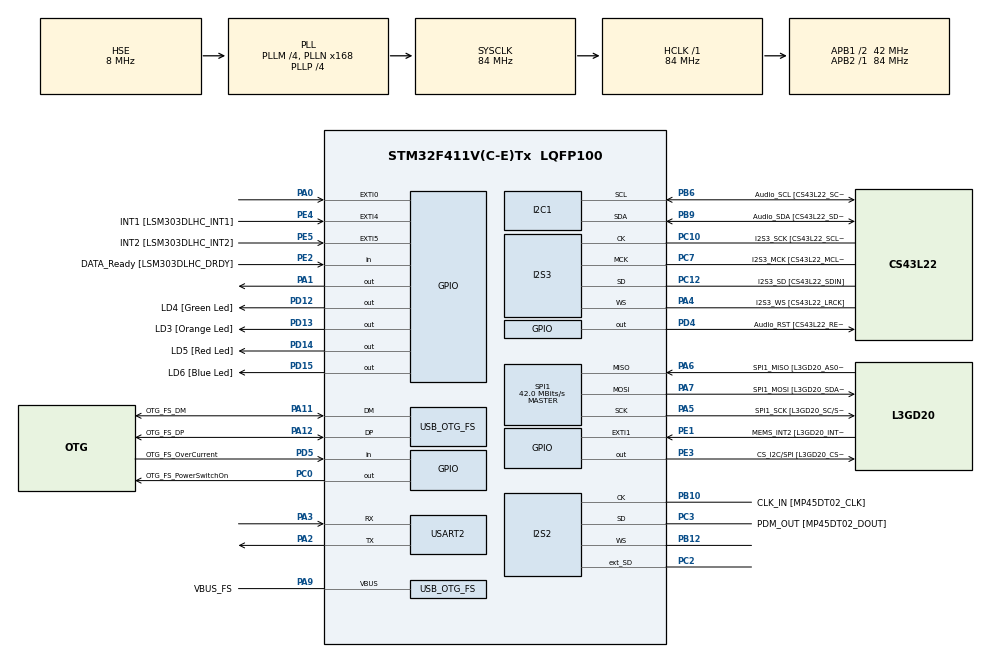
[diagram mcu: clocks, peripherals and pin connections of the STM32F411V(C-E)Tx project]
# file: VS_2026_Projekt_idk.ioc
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FREERTOS.Tasks01=defaultTask,24,128,StartDefaultTask,Default,NULL,Dynamic,NULL,NULL
FREERTOS.configGENERATE_RUN_TIME_STATS=1
FREERTOS.configRECORD_STACK_HIGH_ADDRESS=1
FREERTOS.configUSE_NEWLIB_REENTRANT=1
FREERTOS.configUSE_STATS_FORMATTING_FUNCTIONS=1
I2S2.AudioFreq=I2S_AUDIOFREQ_96K
I2S2.ErrorAudioFreq=0.15 %
I2S2.FullDuplexMode=I2S_FULLDUPLEXMODE_ENABLE
I2S2.Instance=SPI$Index
I2S2.RealAudioFreq=96.153 KHz
I2S2.VirtualMode=I2S_MODE_MASTER
I2S3.AudioFreq=I2S_AUDIOFREQ_96K
I2S3.ErrorAudioFreq=-6.99 %
I2S3.FullDuplexMode=I2S_FULLDUPLEXMODE_DISABLE
I2S3.Instance=SPI$Index
I2S3.RealAudioFreq=89.285 KHz
I2S3.VirtualMode=I2S_MODE_MASTER
Mcu.Family=STM32F4
Mcu.Name=STM32F411V(C-E)Tx
Mcu.Package=LQFP100
NVIC.OTG_FS_IRQn=true\:5\:0\:false\:false\:true\:true\:true\:true\:true
NVIC.PriorityGroup=NVIC_PRIORITYGROUP_4
NVIC.TIM4_IRQn=true\:15\:0\:false\:false\:true\:false\:false\:true\:true
NVIC.TimeBase=TIM4_IRQn
NVIC.TimeBaseIP=TIM4
NVIC.USART2_IRQn=true\:5\:0\:false\:false\:true\:true\:true\:true\:true
PA0-WKUP.GPIO_ModeDefaultEXTI=GPIO_MODE_EVT_RISING
PA0-WKUP.Signal=GPXTI0
PA1.Signal=GPIO_Output
PA10.GPIO_Label=OTG_FS_ID
PA10.Signal=USB_OTG_FS_ID
PA11.GPIO_Label=OTG_FS_DM
PA11.Mode=Host_Only
PA11.Signal=USB_OTG_FS_DM
PA12.GPIO_Label=OTG_FS_DP
PA12.Mode=Host_Only
PA12.Signal=USB_OTG_FS_DP
PA13.GPIO_Label=SWDIO
PA13.Mode=Serial_Wire
PA13.Signal=SYS_JTMS-SWDIO
PA14.GPIO_Label=SWCLK
PA14.Mode=Serial_Wire
PA14.Signal=SYS_JTCK-SWCLK
PA2.Mode=Asynchronous
PA2.Signal=USART2_TX
PA3.Mode=Asynchronous
PA3.Signal=USART2_RX
PA4.GPIO_Label=I2S3_WS [CS43L22_LRCK]
PA4.GPIO_Mode=GPIO_MODE_AF_PP
PA4.GPIO_PuPd=GPIO_NOPULL
PA4.GPIO_Speed=GPIO_SPEED_FREQ_LOW
PA4.Mode=Half_Duplex_Master
PA4.Signal=I2S3_WS
PA5.GPIO_Label=SPI1_SCK [L3GD20_SC/SPC]
PA5.Mode=Full_Duplex_Master
PA5.Signal=SPI1_SCK
PA6.GPIO_Label=SPI1_MISO [L3GD20_AS0/SDO]
PA6.Mode=Full_Duplex_Master
PA6.Signal=SPI1_MISO
PA7.GPIO_Label=SPI1_MOSI [L3GD20_SDA/SDI/SDO]
PA7.Mode=Full_Duplex_Master
PA7.Signal=SPI1_MOSI
PA9.GPIO_Label=VBUS_FS
PA9.Mode=Activate_VBUS
PA9.Signal=USB_OTG_FS_VBUS
PB10.GPIO_Label=CLK_IN [MP45DT02_CLK]
PB10.Mode=Full_Duplex_Master
PB10.Signal=I2S2_CK
PB12.Mode=Full_Duplex_Master
PB12.Signal=I2S2_WS
PB3.GPIO_Label=SWO
PB3.Signal=SYS_JTDO-SWO
PB6.GPIO_Label=Audio_SCL [CS43L22_SCL]
PB6.GPIO_Mode=GPIO_MODE_AF_OD
PB6.GPIO_Pu=GPIO_PULLUP
PB6.GPIO_PuPd=GPIO_NOPULL
PB6.GPIO_Speed=GPIO_SPEED_FREQ_LOW
PB6.Mode=I2C
PB6.Signal=I2C1_SCL
PB9.GPIO_Label=Audio_SDA [CS43L22_SDA]
PB9.GPIO_Mode=GPIO_MODE_AF_OD
PB9.GPIO_Pu=GPIO_PULLUP
PB9.GPIO_PuPd=GPIO_NOPULL
PB9.GPIO_Speed=GPIO_SPEED_FREQ_LOW
PB9.Mode=I2C
PB9.Signal=I2C1_SDA
PC0.GPIO_Label=OTG_FS_PowerSwitchOn
PC0.PinState=GPIO_PIN_SET
PC0.Signal=GPIO_Output
PC10.GPIO_Label=I2S3_SCK [CS43L22_SCLK]
PC10.GPIO_Mode=GPIO_MODE_AF_PP
PC10.GPIO_PuPd=GPIO_NOPULL
PC10.GPIO_Speed=GPIO_SPEED_FREQ_LOW
PC10.Mode=Half_Duplex_Master
PC10.Signal=I2S3_CK
PC12.GPIO_Label=I2S3_SD [CS43L22_SDIN]
PC12.GPIO_Mode=GPIO_MODE_AF_PP
PC12.GPIO_PuPd=GPIO_NOPULL
PC12.GPIO_Speed=GPIO_SPEED_FREQ_LOW
PC12.Mode=Half_Duplex_Master
PC12.Signal=I2S3_SD
PC14-OSC32_IN.GPIO_Label=PC14-OSC32_IN
PC14-OSC32_IN.Signal=RCC_OSC32_IN
PC15-OSC32_OUT.GPIO_Label=PC15-OSC32_OUT
PC15-OSC32_OUT.Signal=RCC_OSC32_OUT
PC2.Mode=Full_Duplex_Master
PC2.Signal=I2S2_ext_SD
PC3.GPIO_Label=PDM_OUT [MP45DT02_DOUT]
PC3.Mode=Full_Duplex_Master
PC3.Signal=I2S2_SD
PC7.GPIO_Label=I2S3_MCK [CS43L22_MCLK]
PC7.GPIO_Mode=GPIO_MODE_AF_PP
PC7.GPIO_PuPd=GPIO_NOPULL
PC7.GPIO_Speed=GPIO_SPEED_FREQ_LOW
PC7.Mode=Master_Clock_Activated
PC7.Signal=I2S3_MCK
PD12.GPIO_Label=LD4 [Green Led]
PD12.GPIO_PuPd=GPIO_NOPULL
PD12.GPIO_Speed=GPIO_SPEED_FREQ_LOW
PD12.Signal=GPIO_Output
PD13.GPIO_Label=LD3 [Orange Led]
PD13.GPIO_PuPd=GPIO_NOPULL
PD13.GPIO_Speed=GPIO_SPEED_FREQ_LOW
PD13.Signal=GPIO_Output
PD14.GPIO_Label=LD5 [Red Led]
PD14.GPIO_PuPd=GPIO_NOPULL
PD14.GPIO_Speed=GPIO_SPEED_FREQ_LOW
PD14.Signal=GPIO_Output
PD15.GPIO_Label=LD6 [Blue Led]
PD15.GPIO_PuPd=GPIO_NOPULL
PD15.GPIO_Speed=GPIO_SPEED_FREQ_LOW
PD15.Signal=GPIO_Output
PD4.GPIO_Label=Audio_RST [CS43L22_RESET]
PD4.Signal=GPIO_Output
PD5.GPIO_Label=OTG_FS_OverCurrent
PD5.Signal=GPIO_Input
PE1.GPIO_Label=MEMS_INT2 [L3GD20_INT2]
PE1.GPIO_ModeDefaultEXTI=GPIO_MODE_EVT_RISING
PE1.Signal=GPXTI1
PE2.GPIO_Label=DATA_Ready [LSM303DLHC_DRDY]
PE2.Signal=GPIO_Input
PE3.GPIO_Label=CS_I2C/SPI [L3GD20_CS_I2C/SPI]
PE3.Signal=GPIO_Output
PE4.GPIO_Label=INT1 [LSM303DLHC_INT1]
PE4.GPIO_ModeDefaultEXTI=GPIO_MODE_EVT_RISING
PE4.Signal=GPXTI4
PE5.GPIO_Label=INT2 [LSM303DLHC_INT2]
PE5.GPIO_ModeDefaultEXTI=GPIO_MODE_EVT_RISING
PE5.Signal=GPXTI5
PH0\ -\ OSC_IN.GPIO_Label=PH0-OSC_IN
PH0\ -\ OSC_IN.Mode=HSE-External-Oscillator
PH0\ -\ OSC_IN.Signal=RCC_OSC_IN
PH1\ -\ OSC_OUT.GPIO_Label=PH1-OSC_OUT
PH1\ -\ OSC_OUT.Mode=HSE-External-Oscillator
PH1\ -\ OSC_OUT.Signal=RCC_OSC_OUT
ProjectManager.HeapSize=0x200
ProjectManager.StackSize=0x400
ProjectManager.TargetToolchain=STM32CubeIDE
RCC.48MHZClocksFreq_Value=48000000
RCC.AHBFreq_Value=84000000
RCC.APB1CLKDivider=RCC_HCLK_DIV2
RCC.APB1Freq_Value=42000000
RCC.APB1TimFreq_Value=84000000
RCC.APB2Freq_Value=84000000
RCC.APB2TimFreq_Value=84000000
RCC.CortexFreq_Value=84000000
RCC.HCLKFreq_Value=84000000
RCC.HSE_VALUE=8000000
RCC.HSI_VALUE=16000000
RCC.LSE_VALUE=32768
RCC.PLLI2SM=5
RCC.PLLI2SN=200
RCC.PLLM=4
RCC.PLLN=168
RCC.PLLP=RCC_PLLP_DIV4
RCC.PLLQ=7
RCC.SYSCLKFreq_VALUE=84000000
RCC.SYSCLKSource=RCC_SYSCLKSOURCE_PLLCLK
RCC.VCOOutputFreq_Value=336000000
SPI1.BaudRatePrescaler=SPI_BAUDRATEPRESCALER_2
SPI1.CalculateBaudRate=42.0 MBits/s
SPI1.Direction=SPI_DIRECTION_2LINES
SPI1.Mode=SPI_MODE_MASTER
SPI1.VirtualType=VM_MASTER
USART2.VirtualMode=VM_ASYNC
USB_HOST.BSP.number=1
USB_HOST.USBH_HandleTypeDef=hUsbHostFS
USB_HOST.VirtualModeFS=Cdc
USB_HOST0.BSP.STBoard=false
USB_HOST0.BSP.api=Unknown
USB_HOST0.BSP.instance=PC0
USB_HOST0.BSP.ip=GPIO
USB_HOST0.BSP.mode=Output
USB_HOST0.BSP.name=Drive_VBUS_FS
USB_HOST0.BSP.solution=PC0
USB_OTG_FS.VirtualMode=Host_Only
USB_OTG_FS.phy_itface=HCD_PHY_EMBEDDED
VP_FREERTOS_VS_CMSIS_V2.Mode=CMSIS_V2
VP_SYS_VS_tim4.Mode=TIM4
VP_USB_HOST_VS_USB_HOST_CDC_FS.Mode=CDC_FS
board=STM32F411E-DISCO

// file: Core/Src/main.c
/* USER CODE BEGIN Header */
/**
  ******************************************************************************
  * @file           : main.c
  * @brief          : Main program body
  ******************************************************************************
  * @attention
  *
  * Copyright (c) 2026 STMicroelectronics.
  * All rights reserved.
  *
  * This software is licensed under terms that can be found in the LICENSE file
  * in the root directory of this software component.
  * If no LICENSE file comes with this software, it is provided AS-IS.
  *
  ******************************************************************************
  */
/* USER CODE END Header */
#include "main.h"
#include "cmsis_os.h"
#include "usb_host.h"

/* USER CODE BEGIN Includes */

#include "FreeRTOS.h"
#include "task.h"
#include "queue.h"
#include <string.h>
#include <ctype.h>

/* USER CODE END Includes */

/* USER CODE BEGIN PD */

#define PRIO_COMM   (3)
#define PRIO_AUDIO  (2)
#define PRIO_LED    (1)

#define RX_BUF_LEN 128

typedef enum {
  STATE_OK = 0, // 00
  STATE_TIRED = 1, // 01
  STATE_SLEEPY = 2 // 10
} fatigue_state_t;

/* USER CODE END PD */

I2C_HandleTypeDef hi2c1;

I2S_HandleTypeDef hi2s2;
I2S_HandleTypeDef hi2s3;

SPI_HandleTypeDef hspi1;

UART_HandleTypeDef huart2;

/* Definitions for defaultTask */
osThreadId_t defaultTaskHandle;
const osThreadAttr_t defaultTask_attributes = {
  .name = "defaultTask",
  .stack_size = 128 * 4,
  .priority = (osPriority_t) osPriorityNormal,
};
/* USER CODE BEGIN PV */

static QueueHandle_t xStateQueue = NULL;
static QueueHandle_t xRxByteQueue = NULL;

static TaskHandle_t  xAudioTaskHandle = NULL;

static volatile uint8_t rxByte;
static volatile uint16_t rxIdx = 0;

/* USER CODE END PV */

void SystemClock_Config(void);
void PeriphCommonClock_Config(void);
static void MX_GPIO_Init(void);
static void MX_I2C1_Init(void);
static void MX_I2S2_Init(void);
static void MX_I2S3_Init(void);
static void MX_SPI1_Init(void);
static void MX_USART2_UART_Init(void);
void StartDefaultTask(void *argument);

/* USER CODE BEGIN PFP */
static void CommTask(void *argument);
static void LedTask(void *argument);
static void AudioTask(void *argument);
/* USER CODE END PFP */

/* USER CODE BEGIN 0 */

static int parse_message_and_get_state(const char *msg, fatigue_state_t *out)
{
  if (!msg || !out) return 0;

  const char *p = strstr(msg, "\"status_code\"");
  if (!p) p = strstr(msg, "status_code");
  if (!p) return 0;

  p = strchr(p, ':');
  if (!p) return 0;
  p++;

  while (*p && isspace((unsigned char)*p)) p++;

  if (*p != '"' && *p != '\'') return 0;
  p++;

  while (*p && isspace((unsigned char)*p)) p++;

  char b0 = p[0];
  char b1 = p[1];
  if (!((b0=='0' || b0=='1') && (b1=='0' || b1=='1'))) return 0;

  if      (b0=='0' && b1=='0') *out = STATE_OK;
  else if (b0=='0' && b1=='1') *out = STATE_TIRED;
  else if (b0=='1' && b1=='0') *out = STATE_SLEEPY;
  else return 0;

  return 1;
}

static void CommTask(void *argument)
{
  char msg[RX_BUF_LEN];
  uint16_t idx = 0;

  for (;;)
  {
    uint8_t b;

    if (xQueueReceive(xRxByteQueue, &b, portMAX_DELAY) == pdTRUE)
    {
      char c = (char)b;

      if (idx < RX_BUF_LEN - 1) {
        msg[idx++] = c;
        msg[idx] = '\0';
      } else {
        idx = 0;
        msg[0] = '\0';
      }

      if (c == '\n' || c == '}')
      {
        fatigue_state_t s;
        msg[idx] = '\0';

        if (parse_message_and_get_state(msg, &s))
        {
          // LED: queue (buffer)
          if (xStateQueue) {
            xQueueSend(xStateQueue, &s, 0);
          }

          // Audio: notification (mailbox)
          if (xAudioTaskHandle) {
            xTaskNotify(xAudioTaskHandle, (uint32_t)s, eSetValueWithOverwrite);
          }
        }

        idx = 0;
        msg[0] = '\0';
      }
    }
  }
}

static void LedTask(void *argument)
{
  fatigue_state_t s;

  for (;;)
  {
    if (xQueueReceive(xStateQueue, &s, portMAX_DELAY) == pdTRUE)
    {
      HAL_GPIO_WritePin(GPIOD, GPIO_PIN_12 | GPIO_PIN_13 | GPIO_PIN_14, GPIO_PIN_RESET);

      switch (s)
      {
        case STATE_OK: // 00
          HAL_GPIO_WritePin(GPIOD, GPIO_PIN_12, GPIO_PIN_SET); // zelena
          break;

        case STATE_TIRED: // 01
          HAL_GPIO_WritePin(GPIOD, GPIO_PIN_13, GPIO_PIN_SET); // oranzna
          break;

        case STATE_SLEEPY: // 10
          HAL_GPIO_WritePin(GPIOD, GPIO_PIN_14, GPIO_PIN_SET); // rdeca
          break;

        default:
          break;
      }
    }
  }
}

static void AudioTask(void *argument)
{
  uint32_t notifValue = 0;

  for (;;)
  {
    // cakaj na novo stanje (mailbox notification)
    xTaskNotifyWait(0, 0xFFFFFFFF, &notifValue, portMAX_DELAY);
    fatigue_state_t s = (fatigue_state_t)notifValue;

    if (s == STATE_OK)
    {
      HAL_GPIO_WritePin(GPIOA, GPIO_PIN_1, GPIO_PIN_RESET);
    }
    else if (s == STATE_TIRED)
    {
      for (int i = 0; i < 2; i++)
      {
        HAL_GPIO_TogglePin(GPIOA, GPIO_PIN_1);
        vTaskDelay(pdMS_TO_TICKS(200));
        HAL_GPIO_TogglePin(GPIOA, GPIO_PIN_1);
        vTaskDelay(pdMS_TO_TICKS(200));
      }
    }
    else if (s == STATE_SLEEPY)
    {
      for (int i = 0; i < 6; i++)
      {
        HAL_GPIO_TogglePin(GPIOA, GPIO_PIN_1);
        vTaskDelay(pdMS_TO_TICKS(80));
      }
      HAL_GPIO_WritePin(GPIOA, GPIO_PIN_1, GPIO_PIN_SET);
    }
  }
}

/* USER CODE END 0 */

int main(void)
{

  /* MCU Configuration--------------------------------------------------------*/

  /* Reset of all peripherals, Initializes the Flash interface and the Systick. */
  HAL_Init();

  /* Configure the system clock */
  SystemClock_Config();

  /* Configure the peripherals common clocks */
  PeriphCommonClock_Config();

  /* Initialize all configured peripherals */
  MX_GPIO_Init();
  MX_I2C1_Init();
  MX_I2S2_Init();
  MX_I2S3_Init();
  MX_SPI1_Init();
  MX_USART2_UART_Init();
  /* USER CODE BEGIN 2 */

  HAL_UART_Receive_IT(&huart2, (uint8_t*)&rxByte, 1);

  /* USER CODE END 2 */

  /* Init scheduler */

  /* Create the thread(s) */
  /* creation of defaultTask */
  defaultTaskHandle = osThreadNew(StartDefaultTask, NULL, &defaultTask_attributes);

  /* USER CODE BEGIN RTOS_THREADS */
  /* add threads, ... */

  xStateQueue = xQueueCreate(8, sizeof(fatigue_state_t));
  xRxByteQueue = xQueueCreate(256, sizeof(uint8_t));

  vQueueAddToRegistry( xStateQueue, "LED_State_Queue" );
  vQueueAddToRegistry( xRxByteQueue, "UART_Queue" );

  xTaskCreate(CommTask,  "CommTask",  256, NULL, PRIO_COMM,  NULL);
  xTaskCreate(LedTask,   "LedTask",   256, NULL, PRIO_LED,   NULL);
  xTaskCreate(AudioTask, "AudioTask", 256, NULL, PRIO_AUDIO, &xAudioTaskHandle);

  vTaskStartScheduler();

  /* USER CODE END RTOS_THREADS */

  /* Start scheduler */

  /* We should never get here as control is now taken by the scheduler */

  /* Infinite loop */
  while (1)
  {

  }
}

void SystemClock_Config(void)
{
  RCC_OscInitTypeDef RCC_OscInitStruct = {0};
  RCC_ClkInitTypeDef RCC_ClkInitStruct = {0};

  /** Configure the main internal regulator output voltage
  */
  __HAL_RCC_PWR_CLK_ENABLE();
  __HAL_PWR_VOLTAGESCALING_CONFIG(PWR_REGULATOR_VOLTAGE_SCALE1);

  /** Initializes the RCC Oscillators according to the specified parameters
  * in the RCC_OscInitTypeDef structure.
  */
  RCC_OscInitStruct.OscillatorType = RCC_OSCILLATORTYPE_HSE;
  RCC_OscInitStruct.HSEState = RCC_HSE_ON;
  RCC_OscInitStruct.PLL.PLLState = RCC_PLL_ON;
  RCC_OscInitStruct.PLL.PLLSource = RCC_PLLSOURCE_HSE;
  RCC_OscInitStruct.PLL.PLLM = 4;
  RCC_OscInitStruct.PLL.PLLN = 168;
  RCC_OscInitStruct.PLL.PLLP = RCC_PLLP_DIV4;
  RCC_OscInitStruct.PLL.PLLQ = 7;
  if (HAL_RCC_OscConfig(&RCC_OscInitStruct) != HAL_OK)
  {
    Error_Handler();
  }

  /** Initializes the CPU, AHB and APB buses clocks
  */
  RCC_ClkInitStruct.ClockType = RCC_CLOCKTYPE_HCLK|RCC_CLOCKTYPE_SYSCLK
                              |RCC_CLOCKTYPE_PCLK1|RCC_CLOCKTYPE_PCLK2;
  RCC_ClkInitStruct.SYSCLKSource = RCC_SYSCLKSOURCE_PLLCLK;
  RCC_ClkInitStruct.AHBCLKDivider = RCC_SYSCLK_DIV1;
  RCC_ClkInitStruct.APB1CLKDivider = RCC_HCLK_DIV2;
  RCC_ClkInitStruct.APB2CLKDivider = RCC_HCLK_DIV1;

  if (HAL_RCC_ClockConfig(&RCC_ClkInitStruct, FLASH_LATENCY_2) != HAL_OK)
  {
    Error_Handler();
  }
}

void PeriphCommonClock_Config(void)
{
  RCC_PeriphCLKInitTypeDef PeriphClkInitStruct = {0};

  /** Initializes the peripherals clock
  */
  PeriphClkInitStruct.PeriphClockSelection = RCC_PERIPHCLK_I2S;
  PeriphClkInitStruct.PLLI2S.PLLI2SN = 200;
  PeriphClkInitStruct.PLLI2S.PLLI2SM = 5;
  PeriphClkInitStruct.PLLI2S.PLLI2SR = 2;
  if (HAL_RCCEx_PeriphCLKConfig(&PeriphClkInitStruct) != HAL_OK)
  {
    Error_Handler();
  }
}

static void MX_I2C1_Init(void)
{

  hi2c1.Instance = I2C1;
  hi2c1.Init.ClockSpeed = 100000;
  hi2c1.Init.DutyCycle = I2C_DUTYCYCLE_2;
  hi2c1.Init.OwnAddress1 = 0;
  hi2c1.Init.AddressingMode = I2C_ADDRESSINGMODE_7BIT;
  hi2c1.Init.DualAddressMode = I2C_DUALADDRESS_DISABLE;
  hi2c1.Init.OwnAddress2 = 0;
  hi2c1.Init.GeneralCallMode = I2C_GENERALCALL_DISABLE;
  hi2c1.Init.NoStretchMode = I2C_NOSTRETCH_DISABLE;
  if (HAL_I2C_Init(&hi2c1) != HAL_OK)
  {
    Error_Handler();
  }

}

static void MX_I2S2_Init(void)
{

  hi2s2.Instance = SPI2;
  hi2s2.Init.Mode = I2S_MODE_MASTER_TX;
  hi2s2.Init.Standard = I2S_STANDARD_PHILIPS;
  hi2s2.Init.DataFormat = I2S_DATAFORMAT_16B;
  hi2s2.Init.MCLKOutput = I2S_MCLKOUTPUT_DISABLE;
  hi2s2.Init.AudioFreq = I2S_AUDIOFREQ_96K;
  hi2s2.Init.CPOL = I2S_CPOL_LOW;
  hi2s2.Init.ClockSource = I2S_CLOCK_PLL;
  hi2s2.Init.FullDuplexMode = I2S_FULLDUPLEXMODE_ENABLE;
  if (HAL_I2S_Init(&hi2s2) != HAL_OK)
  {
    Error_Handler();
  }

}

static void MX_I2S3_Init(void)
{

  hi2s3.Instance = SPI3;
  hi2s3.Init.Mode = I2S_MODE_MASTER_TX;
  hi2s3.Init.Standard = I2S_STANDARD_PHILIPS;
  hi2s3.Init.DataFormat = I2S_DATAFORMAT_16B;
  hi2s3.Init.MCLKOutput = I2S_MCLKOUTPUT_ENABLE;
  hi2s3.Init.AudioFreq = I2S_AUDIOFREQ_96K;
  hi2s3.Init.CPOL = I2S_CPOL_LOW;
  hi2s3.Init.ClockSource = I2S_CLOCK_PLL;
  hi2s3.Init.FullDuplexMode = I2S_FULLDUPLEXMODE_DISABLE;
  if (HAL_I2S_Init(&hi2s3) != HAL_OK)
  {
    Error_Handler();
  }

}

static void MX_SPI1_Init(void)
{

  /* SPI1 parameter configuration*/
  hspi1.Instance = SPI1;
  hspi1.Init.Mode = SPI_MODE_MASTER;
  hspi1.Init.Direction = SPI_DIRECTION_2LINES;
  hspi1.Init.DataSize = SPI_DATASIZE_8BIT;
  hspi1.Init.CLKPolarity = SPI_POLARITY_LOW;
  hspi1.Init.CLKPhase = SPI_PHASE_1EDGE;
  hspi1.Init.NSS = SPI_NSS_SOFT;
  hspi1.Init.BaudRatePrescaler = SPI_BAUDRATEPRESCALER_2;
  hspi1.Init.FirstBit = SPI_FIRSTBIT_MSB;
  hspi1.Init.TIMode = SPI_TIMODE_DISABLE;
  hspi1.Init.CRCCalculation = SPI_CRCCALCULATION_DISABLE;
  hspi1.Init.CRCPolynomial = 10;
  if (HAL_SPI_Init(&hspi1) != HAL_OK)
  {
    Error_Handler();
  }

}

static void MX_USART2_UART_Init(void)
{

  huart2.Instance = USART2;
  huart2.Init.BaudRate = 115200;
  huart2.Init.WordLength = UART_WORDLENGTH_8B;
  huart2.Init.StopBits = UART_STOPBITS_1;
  huart2.Init.Parity = UART_PARITY_NONE;
  huart2.Init.Mode = UART_MODE_TX_RX;
  huart2.Init.HwFlowCtl = UART_HWCONTROL_NONE;
  huart2.Init.OverSampling = UART_OVERSAMPLING_16;
  if (HAL_UART_Init(&huart2) != HAL_OK)
  {
    Error_Handler();
  }

}

static void MX_GPIO_Init(void)
{
  GPIO_InitTypeDef GPIO_InitStruct = {0};

  /* GPIO Ports Clock Enable */
  __HAL_RCC_GPIOE_CLK_ENABLE();
  __HAL_RCC_GPIOC_CLK_ENABLE();
  __HAL_RCC_GPIOH_CLK_ENABLE();
  __HAL_RCC_GPIOA_CLK_ENABLE();
  __HAL_RCC_GPIOB_CLK_ENABLE();
  __HAL_RCC_GPIOD_CLK_ENABLE();

  /*Configure GPIO pin Output Level */
  HAL_GPIO_WritePin(CS_I2C_SPI_GPIO_Port, CS_I2C_SPI_Pin, GPIO_PIN_RESET);

  /*Configure GPIO pin Output Level */
  HAL_GPIO_WritePin(OTG_FS_PowerSwitchOn_GPIO_Port, OTG_FS_PowerSwitchOn_Pin, GPIO_PIN_SET);

  /*Configure GPIO pin Output Level */
  HAL_GPIO_WritePin(GPIOA, GPIO_PIN_1, GPIO_PIN_RESET);

  /*Configure GPIO pin Output Level */
  HAL_GPIO_WritePin(GPIOD, LD4_Pin|LD3_Pin|LD5_Pin|LD6_Pin
                          |Audio_RST_Pin, GPIO_PIN_RESET);

  /*Configure GPIO pin : DATA_Ready_Pin */
  GPIO_InitStruct.Pin = DATA_Ready_Pin;
  GPIO_InitStruct.Mode = GPIO_MODE_INPUT;
  GPIO_InitStruct.Pull = GPIO_NOPULL;
  HAL_GPIO_Init(DATA_Ready_GPIO_Port, &GPIO_InitStruct);

  /*Configure GPIO pin : CS_I2C_SPI_Pin */
  GPIO_InitStruct.Pin = CS_I2C_SPI_Pin;
  GPIO_InitStruct.Mode = GPIO_MODE_OUTPUT_PP;
  GPIO_InitStruct.Pull = GPIO_NOPULL;
  GPIO_InitStruct.Speed = GPIO_SPEED_FREQ_LOW;
  HAL_GPIO_Init(CS_I2C_SPI_GPIO_Port, &GPIO_InitStruct);

  /*Configure GPIO pins : INT1_Pin INT2_Pin MEMS_INT2_Pin */
  GPIO_InitStruct.Pin = INT1_Pin|INT2_Pin|MEMS_INT2_Pin;
  GPIO_InitStruct.Mode = GPIO_MODE_EVT_RISING;
  GPIO_InitStruct.Pull = GPIO_NOPULL;
  HAL_GPIO_Init(GPIOE, &GPIO_InitStruct);

  /*Configure GPIO pin : OTG_FS_PowerSwitchOn_Pin */
  GPIO_InitStruct.Pin = OTG_FS_PowerSwitchOn_Pin;
  GPIO_InitStruct.Mode = GPIO_MODE_OUTPUT_PP;
  GPIO_InitStruct.Pull = GPIO_NOPULL;
  GPIO_InitStruct.Speed = GPIO_SPEED_FREQ_LOW;
  HAL_GPIO_Init(OTG_FS_PowerSwitchOn_GPIO_Port, &GPIO_InitStruct);

  /*Configure GPIO pin : PA0 */
  GPIO_InitStruct.Pin = GPIO_PIN_0;
  GPIO_InitStruct.Mode = GPIO_MODE_EVT_RISING;
  GPIO_InitStruct.Pull = GPIO_NOPULL;
  HAL_GPIO_Init(GPIOA, &GPIO_InitStruct);

  /*Configure GPIO pin : PA1 */
  GPIO_InitStruct.Pin = GPIO_PIN_1;
  GPIO_InitStruct.Mode = GPIO_MODE_OUTPUT_PP;
  GPIO_InitStruct.Pull = GPIO_NOPULL;
  GPIO_InitStruct.Speed = GPIO_SPEED_FREQ_LOW;
  HAL_GPIO_Init(GPIOA, &GPIO_InitStruct);

  /*Configure GPIO pins : LD4_Pin LD3_Pin LD5_Pin LD6_Pin
                           Audio_RST_Pin */
  GPIO_InitStruct.Pin = LD4_Pin|LD3_Pin|LD5_Pin|LD6_Pin
                          |Audio_RST_Pin;
  GPIO_InitStruct.Mode = GPIO_MODE_OUTPUT_PP;
  GPIO_InitStruct.Pull = GPIO_NOPULL;
  GPIO_InitStruct.Speed = GPIO_SPEED_FREQ_LOW;
  HAL_GPIO_Init(GPIOD, &GPIO_InitStruct);

  /*Configure GPIO pin : OTG_FS_OverCurrent_Pin */
  GPIO_InitStruct.Pin = OTG_FS_OverCurrent_Pin;
  GPIO_InitStruct.Mode = GPIO_MODE_INPUT;
  GPIO_InitStruct.Pull = GPIO_NOPULL;
  HAL_GPIO_Init(OTG_FS_OverCurrent_GPIO_Port, &GPIO_InitStruct);

}

/* USER CODE BEGIN 4 */

void HAL_UART_RxCpltCallback(UART_HandleTypeDef *huart)
{
  BaseType_t xHigherPriorityTaskWoken = pdFALSE;

  if (huart->Instance == USART2)
  {
    uint8_t b = rxByte;

    if (xRxByteQueue != NULL) {
      xQueueSendFromISR(xRxByteQueue, &b, &xHigherPriorityTaskWoken);
    }

    HAL_UART_Receive_IT(&huart2, (uint8_t*)&rxByte, 1);
    portYIELD_FROM_ISR(xHigherPriorityTaskWoken);
  }
}

/* USER CODE END 4 */

void StartDefaultTask(void *argument)
{
  /* init code for USB_HOST */
  MX_USB_HOST_Init();
  for(;;)
  {
    osDelay(1);
  }
}

void HAL_TIM_PeriodElapsedCallback(TIM_HandleTypeDef *htim)
{
  if (htim->Instance == TIM4)
  {
    HAL_IncTick();
  }
}

void Error_Handler(void)
{
  __disable_irq();
  while (1)
  {
  }
}

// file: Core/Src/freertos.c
/* USER CODE BEGIN Header */
/**
  ******************************************************************************
  * File Name          : freertos.c
  * Description        : Code for freertos applications
  ******************************************************************************
  * @attention
  *
  * Copyright (c) 2026 STMicroelectronics.
  * All rights reserved.
  *
  * This software is licensed under terms that can be found in the LICENSE file
  * in the root directory of this software component.
  * If no LICENSE file comes with this software, it is provided AS-IS.
  *
  ******************************************************************************
  */
/* USER CODE END Header */

#include "FreeRTOS.h"
#include "task.h"
#include "main.h"

/* Hook prototypes */
void configureTimerForRunTimeStats(void);
unsigned long getRunTimeCounterValue(void);

/* USER CODE BEGIN 1 */
/* Functions needed when configGENERATE_RUN_TIME_STATS is on */
__weak void configureTimerForRunTimeStats(void)
{
	CoreDebug->DEMCR |= CoreDebug_DEMCR_TRCENA_Msk;
	DWT->CTRL |= 1;
	DWT->CYCCNT = 0;
}

__weak unsigned long getRunTimeCounterValue(void)
{
return DWT->CYCCNT;
}
/* USER CODE END 1 */
